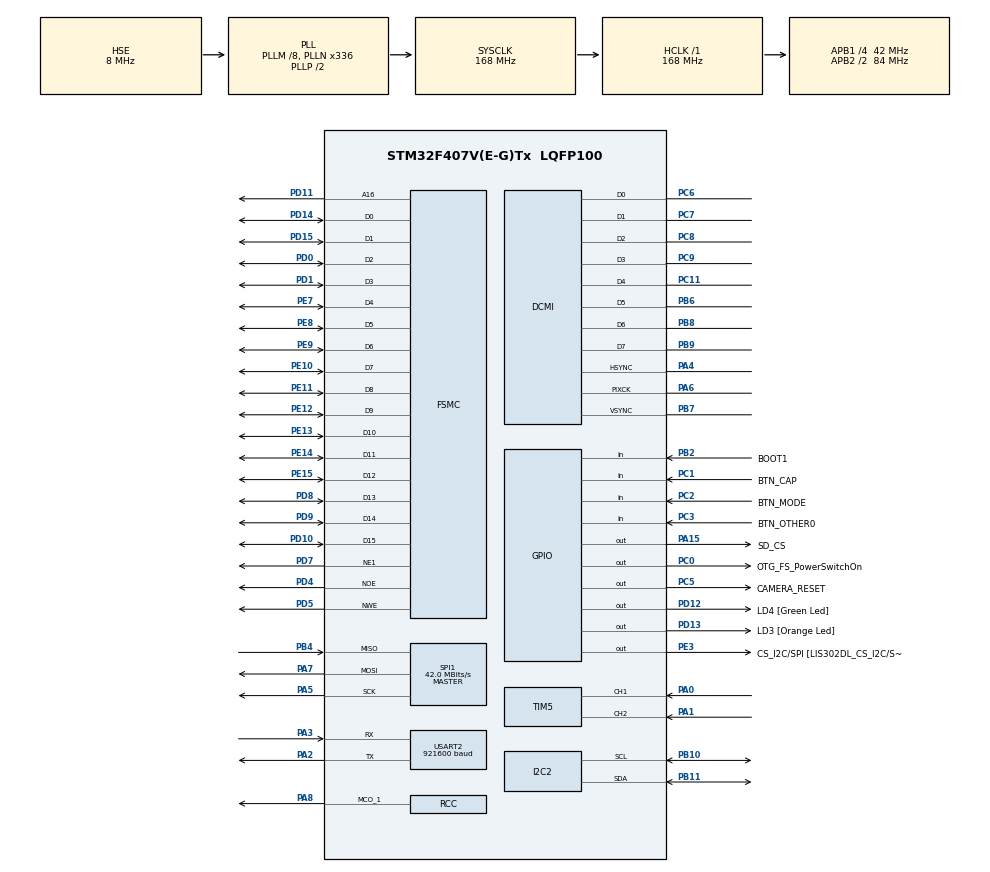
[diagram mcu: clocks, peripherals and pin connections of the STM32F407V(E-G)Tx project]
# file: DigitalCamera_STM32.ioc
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DCMI.PCKPolarity=DCMI_PCKPOLARITY_RISING
DCMI.VSPolarity=DCMI_VSPOLARITY_HIGH
Dma.DCMI.1.Direction=DMA_PERIPH_TO_MEMORY
Dma.DCMI.1.FIFOMode=DMA_FIFOMODE_DISABLE
Dma.DCMI.1.Instance=DMA2_Stream1
Dma.DCMI.1.MemDataAlignment=DMA_MDATAALIGN_WORD
Dma.DCMI.1.MemInc=DMA_MINC_DISABLE
Dma.DCMI.1.Mode=DMA_NORMAL
Dma.DCMI.1.PeriphDataAlignment=DMA_PDATAALIGN_WORD
Dma.DCMI.1.PeriphInc=DMA_PINC_DISABLE
Dma.DCMI.1.Priority=DMA_PRIORITY_LOW
Dma.Request0=USART2_RX
Dma.Request1=DCMI
Dma.USART2_RX.0.Direction=DMA_PERIPH_TO_MEMORY
Dma.USART2_RX.0.FIFOMode=DMA_FIFOMODE_DISABLE
Dma.USART2_RX.0.Instance=DMA1_Stream5
Dma.USART2_RX.0.MemDataAlignment=DMA_MDATAALIGN_BYTE
Dma.USART2_RX.0.MemInc=DMA_MINC_ENABLE
Dma.USART2_RX.0.Mode=DMA_CIRCULAR
Dma.USART2_RX.0.PeriphDataAlignment=DMA_PDATAALIGN_BYTE
Dma.USART2_RX.0.PeriphInc=DMA_PINC_DISABLE
Dma.USART2_RX.0.Priority=DMA_PRIORITY_LOW
FSMC.AddressSetupTime1=2
FSMC.BusTurnAroundDuration1=1
FSMC.DataSetupTime1=4
Mcu.Family=STM32F4
Mcu.Name=STM32F407V(E-G)Tx
Mcu.Package=LQFP100
NVIC.DCMI_IRQn=true\:0\:0\:false\:false\:true
NVIC.DMA1_Stream5_IRQn=true\:0\:0\:false\:false\:true
NVIC.DMA2_Stream1_IRQn=true\:0\:0\:false\:false\:true
NVIC.PriorityGroup=NVIC_PRIORITYGROUP_0
NVIC.USART2_IRQn=true\:0\:0\:false\:false\:true
PA0-WKUP.Signal=S_TIM5_CH1
PA1.Signal=S_TIM5_CH2
PA10.GPIO_Label=OTG_FS_ID
PA10.GPIO_Mode=GPIO_MODE_AF_PP
PA10.GPIO_PuPd=GPIO_NOPULL
PA10.GPIO_Speed=GPIO_SPEED_FREQ_LOW
PA10.Signal=USB_OTG_FS_ID
PA11.GPIO_Label=OTG_FS_DM
PA11.GPIO_Mode=GPIO_MODE_AF_PP
PA11.GPIO_PuPd=GPIO_NOPULL
PA11.GPIO_Speed=GPIO_SPEED_FREQ_LOW
PA11.Signal=USB_OTG_FS_DM
PA12.GPIO_Label=OTG_FS_DP
PA12.GPIO_Mode=GPIO_MODE_AF_PP
PA12.GPIO_PuPd=GPIO_NOPULL
PA12.GPIO_Speed=GPIO_SPEED_FREQ_LOW
PA12.Signal=USB_OTG_FS_DP
PA13.GPIO_Label=SWDIO
PA13.Signal=SYS_JTMS-SWDIO
PA14.GPIO_Label=SWCLK
PA14.Signal=SYS_JTCK-SWCLK
PA15.GPIO_Label=SD_CS
PA15.PinState=GPIO_PIN_SET
PA15.Signal=GPIO_Output
PA2.Mode=Asynchronous
PA2.Signal=USART2_TX
PA3.Mode=Asynchronous
PA3.Signal=USART2_RX
PA4.GPIO_PuPd=GPIO_PULLDOWN
PA4.GPIO_Speed=GPIO_SPEED_FREQ_VERY_HIGH
PA4.Mode=Slave_8_bits_External_Synchro
PA4.Signal=DCMI_HSYNC
PA5.Mode=Full_Duplex_Master
PA5.Signal=SPI1_SCK
PA6.GPIO_PuPd=GPIO_PULLDOWN
PA6.GPIO_Speed=GPIO_SPEED_FREQ_VERY_HIGH
PA6.Mode=Slave_8_bits_External_Synchro
PA6.Signal=DCMI_PIXCK
PA7.Mode=Full_Duplex_Master
PA7.Signal=SPI1_MOSI
PA8.GPIO_Speed=GPIO_SPEED_FREQ_VERY_HIGH
PA8.Mode=Clock-out-1
PA8.Signal=RCC_MCO_1
PA9.GPIO_Label=VBUS_FS
PA9.GPIO_Mode=GPIO_MODE_INPUT
PA9.GPIO_PuPd=GPIO_NOPULL
PA9.Signal=USB_OTG_FS_VBUS
PB10.Mode=I2C
PB10.Signal=I2C2_SCL
PB11.Mode=I2C
PB11.Signal=I2C2_SDA
PB2.GPIO_Label=BOOT1
PB2.GPIO_Mode=GPIO_MODE_INPUT
PB2.GPIO_PuPd=GPIO_NOPULL
PB2.Signal=GPIO_Input
PB3.GPIO_Label=SWO
PB3.Signal=SYS_JTDO-SWO
PB4.Mode=Full_Duplex_Master
PB4.Signal=SPI1_MISO
PB6.GPIO_PuPd=GPIO_PULLDOWN
PB6.GPIO_Speed=GPIO_SPEED_FREQ_VERY_HIGH
PB6.Mode=Slave_8_bits_External_Synchro
PB6.Signal=DCMI_D5
PB7.GPIO_PuPd=GPIO_PULLDOWN
PB7.GPIO_Speed=GPIO_SPEED_FREQ_VERY_HIGH
PB7.Mode=Slave_8_bits_External_Synchro
PB7.Signal=DCMI_VSYNC
PB8.GPIO_PuPd=GPIO_PULLDOWN
PB8.GPIO_Speed=GPIO_SPEED_FREQ_VERY_HIGH
PB8.Mode=Slave_8_bits_External_Synchro
PB8.Signal=DCMI_D6
PB9.GPIO_PuPd=GPIO_PULLDOWN
PB9.GPIO_Speed=GPIO_SPEED_FREQ_VERY_HIGH
PB9.Mode=Slave_8_bits_External_Synchro
PB9.Signal=DCMI_D7
PC0.GPIO_Label=OTG_FS_PowerSwitchOn
PC0.GPIO_PuPd=GPIO_NOPULL
PC0.GPIO_Speed=GPIO_SPEED_FREQ_LOW
PC0.PinState=GPIO_PIN_SET
PC0.Signal=GPIO_Output
PC1.GPIO_Label=BTN_CAP
PC1.GPIO_PuPd=GPIO_PULLUP
PC1.Signal=GPIO_Input
PC11.GPIO_PuPd=GPIO_PULLDOWN
PC11.GPIO_Speed=GPIO_SPEED_FREQ_VERY_HIGH
PC11.Mode=Slave_8_bits_External_Synchro
PC11.Signal=DCMI_D4
PC14-OSC32_IN.GPIO_Label=PC14-OSC32_IN
PC14-OSC32_IN.Signal=RCC_OSC32_IN
PC15-OSC32_OUT.GPIO_Label=PC15-OSC32_OUT
PC15-OSC32_OUT.Signal=RCC_OSC32_OUT
PC2.GPIO_Label=BTN_MODE
PC2.GPIO_PuPd=GPIO_PULLUP
PC2.Signal=GPIO_Input
PC3.GPIO_Label=BTN_OTHER0
PC3.GPIO_PuPd=GPIO_PULLUP
PC3.Signal=GPIO_Input
PC5.GPIO_Label=CAMERA_RESET
PC5.Signal=GPIO_Output
PC6.GPIO_PuPd=GPIO_PULLDOWN
PC6.GPIO_Speed=GPIO_SPEED_FREQ_VERY_HIGH
PC6.Mode=Slave_8_bits_External_Synchro
PC6.Signal=DCMI_D0
PC7.GPIO_PuPd=GPIO_PULLDOWN
PC7.GPIO_Speed=GPIO_SPEED_FREQ_VERY_HIGH
PC7.Mode=Slave_8_bits_External_Synchro
PC7.Signal=DCMI_D1
PC8.GPIO_PuPd=GPIO_PULLDOWN
PC8.GPIO_Speed=GPIO_SPEED_FREQ_VERY_HIGH
PC8.Mode=Slave_8_bits_External_Synchro
PC8.Signal=DCMI_D2
PC9.GPIO_PuPd=GPIO_PULLDOWN
PC9.GPIO_Speed=GPIO_SPEED_FREQ_VERY_HIGH
PC9.Mode=Slave_8_bits_External_Synchro
PC9.Signal=DCMI_D3
PD0.Mode=16b-d1
PD0.Signal=FSMC_D2
PD1.Mode=16b-d1
PD1.Signal=FSMC_D3
PD10.Mode=16b-d1
PD10.Signal=FSMC_D15
PD11.Mode=A16_1
PD11.Signal=FSMC_A16
PD12.GPIO_Label=LD4 [Green Led]
PD12.GPIO_PuPd=GPIO_NOPULL
PD12.GPIO_Speed=GPIO_SPEED_FREQ_LOW
PD12.Signal=GPIO_Output
PD13.GPIO_Label=LD3 [Orange Led]
PD13.GPIO_PuPd=GPIO_NOPULL
PD13.GPIO_Speed=GPIO_SPEED_FREQ_LOW
PD13.Signal=GPIO_Output
PD14.Mode=16b-d1
PD14.Signal=FSMC_D0
PD15.Mode=16b-d1
PD15.Signal=FSMC_D1
PD4.Mode=Lcd1
PD4.Signal=FSMC_NOE
PD5.Mode=Lcd1
PD5.Signal=FSMC_NWE
PD7.Mode=NorPsramChipSelect1_1
PD7.Signal=FSMC_NE1
PD8.Mode=16b-d1
PD8.Signal=FSMC_D13
PD9.Mode=16b-d1
PD9.Signal=FSMC_D14
PE10.Mode=16b-d1
PE10.Signal=FSMC_D7
PE11.Mode=16b-d1
PE11.Signal=FSMC_D8
PE12.Mode=16b-d1
PE12.Signal=FSMC_D9
PE13.Mode=16b-d1
PE13.Signal=FSMC_D10
PE14.Mode=16b-d1
PE14.Signal=FSMC_D11
PE15.Mode=16b-d1
PE15.Signal=FSMC_D12
PE3.GPIO_Label=CS_I2C/SPI [LIS302DL_CS_I2C/SPI]
PE3.GPIO_PuPd=GPIO_NOPULL
PE3.GPIO_Speed=GPIO_SPEED_FREQ_LOW
PE3.PinState=GPIO_PIN_SET
PE3.Signal=GPIO_Output
PE7.Mode=16b-d1
PE7.Signal=FSMC_D4
PE8.Mode=16b-d1
PE8.Signal=FSMC_D5
PE9.Mode=16b-d1
PE9.Signal=FSMC_D6
PH0-OSC_IN.GPIO_Label=PH0-OSC_IN
PH0-OSC_IN.Mode=HSE-External-Oscillator
PH0-OSC_IN.Signal=RCC_OSC_IN
PH1-OSC_OUT.GPIO_Label=PH1-OSC_OUT
PH1-OSC_OUT.Mode=HSE-External-Oscillator
PH1-OSC_OUT.Signal=RCC_OSC_OUT
ProjectManager.HeapSize=0x200
ProjectManager.StackSize=0x400
ProjectManager.TargetToolchain=SW4STM32
RCC.48MHZClocksFreq_Value=48000000
RCC.AHBFreq_Value=168000000
RCC.APB1CLKDivider=RCC_HCLK_DIV4
RCC.APB1Freq_Value=42000000
RCC.APB1TimFreq_Value=84000000
RCC.APB2CLKDivider=RCC_HCLK_DIV2
RCC.APB2Freq_Value=84000000
RCC.APB2TimFreq_Value=168000000
RCC.CortexFreq_Value=168000000
RCC.HCLKFreq_Value=168000000
RCC.HSE_VALUE=8000000
RCC.HSI_VALUE=16000000
RCC.LSE_VALUE=32768
RCC.PLLM=8
RCC.PLLN=336
RCC.PLLQ=7
RCC.PLLSourceVirtual=RCC_PLLSOURCE_HSE
RCC.RCC_MCO1Source=RCC_MCO1SOURCE_PLLCLK
RCC.RCC_MCODiv1=RCC_MCODIV_4
RCC.SYSCLKFreq_VALUE=168000000
RCC.SYSCLKSource=RCC_SYSCLKSOURCE_PLLCLK
RCC.VCOOutputFreq_Value=336000000
SH.S_TIM5_CH1.0=TIM5_CH1,Encoder_Interface
SH.S_TIM5_CH2.0=TIM5_CH2,Encoder_Interface
SPI1.CalculateBaudRate=42.0 MBits/s
SPI1.Direction=SPI_DIRECTION_2LINES
SPI1.Mode=SPI_MODE_MASTER
SPI1.VirtualType=VM_MASTER
USART2.BaudRate=921600
USART2.VirtualMode=VM_ASYNC
board=STM32F4DISCOVERY

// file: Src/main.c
/**
  ******************************************************************************
  * File Name          : main.c
  * Description        : Main program body
  ******************************************************************************
  ** This notice applies to any and all portions of this file
  * that are not between comment pairs USER CODE BEGIN and
  * USER CODE END. Other portions of this file, whether
  * inserted by the user or by software development tools
  * are owned by their respective copyright owners.
  *
  * COPYRIGHT(c) 2017 STMicroelectronics
  *
  * Redistribution and use in source and binary forms, with or without modification,
  * are permitted provided that the following conditions are met:
  *   1. Redistributions of source code must retain the above copyright notice,
  *      this list of conditions and the following disclaimer.
  *   2. Redistributions in binary form must reproduce the above copyright notice,
  *      this list of conditions and the following disclaimer in the documentation
  *      and/or other materials provided with the distribution.
  *   3. Neither the name of STMicroelectronics nor the names of its contributors
  *      may be used to endorse or promote products derived from this software
  *      without specific prior written permission.
  *
  * THIS SOFTWARE IS PROVIDED BY THE COPYRIGHT HOLDERS AND CONTRIBUTORS "AS IS"
  * AND ANY EXPRESS OR IMPLIED WARRANTIES, INCLUDING, BUT NOT LIMITED TO, THE
  * IMPLIED WARRANTIES OF MERCHANTABILITY AND FITNESS FOR A PARTICULAR PURPOSE ARE
  * DISCLAIMED. IN NO EVENT SHALL THE COPYRIGHT HOLDER OR CONTRIBUTORS BE LIABLE
  * FOR ANY DIRECT, INDIRECT, INCIDENTAL, SPECIAL, EXEMPLARY, OR CONSEQUENTIAL
  * DAMAGES (INCLUDING, BUT NOT LIMITED TO, PROCUREMENT OF SUBSTITUTE GOODS OR
  * SERVICES; LOSS OF USE, DATA, OR PROFITS; OR BUSINESS INTERRUPTION) HOWEVER
  * CAUSED AND ON ANY THEORY OF LIABILITY, WHETHER IN CONTRACT, STRICT LIABILITY,
  * OR TORT (INCLUDING NEGLIGENCE OR OTHERWISE) ARISING IN ANY WAY OUT OF THE USE
  * OF THIS SOFTWARE, EVEN IF ADVISED OF THE POSSIBILITY OF SUCH DAMAGE.
  *
  ******************************************************************************
  */
#include "main.h"
#include "stm32f4xx_hal.h"

/* USER CODE BEGIN Includes */
#include "common.h"
#include "uartTerminal/uartTerminal.h"
#include "lcdIli9341/lcdIli9341.h"
#include "ov7670/ov7670.h"
/* USER CODE END Includes */

DCMI_HandleTypeDef hdcmi;
DMA_HandleTypeDef hdma_dcmi;

I2C_HandleTypeDef hi2c2;

SPI_HandleTypeDef hspi1;

TIM_HandleTypeDef htim5;

UART_HandleTypeDef huart2;
DMA_HandleTypeDef hdma_usart2_rx;

SRAM_HandleTypeDef hsram1;

/* USER CODE BEGIN PV */
/* Private variables ---------------------------------------------------------*/

/* USER CODE END PV */

void SystemClock_Config(void);
static void MX_GPIO_Init(void);
static void MX_DMA_Init(void);
static void MX_DCMI_Init(void);
static void MX_FSMC_Init(void);
static void MX_I2C2_Init(void);
static void MX_SPI1_Init(void);
static void MX_TIM5_Init(void);
static void MX_USART2_UART_Init(void);

/* USER CODE BEGIN PFP */
/* Private function prototypes -----------------------------------------------*/
extern void retarget_init();
/* USER CODE END PFP */

int main(void)
{

  /* MCU Configuration----------------------------------------------------------*/

  /* Reset of all peripherals, Initializes the Flash interface and the Systick. */
  HAL_Init();

  /* Configure the system clock */
  SystemClock_Config();

  /* Initialize all configured peripherals */
  MX_GPIO_Init();
  MX_DMA_Init();
  MX_DCMI_Init();
  MX_FSMC_Init();
  MX_I2C2_Init();
  MX_SPI1_Init();
  MX_TIM5_Init();
  MX_USART2_UART_Init();

  /* USER CODE BEGIN 2 */
  /* init system */
  retarget_init();
  printf("Hello World\n");

  /* init lcd */
  lcdIli9341_init();
  lcdIli9341_drawRect(100, 100, 50, 50, LCD_ILI9342_COLOR_RED);

  lcdIli9341_setArea(0, 0, LCD_ILI9342_WIDTH - 1, LCD_ILI9342_HEIGHT - 1);
  uint16_t* p_lcdData;
  p_lcdData = lcdIli9341_getDrawAddress();

  for(uint32_t y = 0 * LCD_ILI9342_HEIGHT/3; y < 1 * LCD_ILI9342_HEIGHT/3; y++){
    for(uint32_t x = 0; x < LCD_ILI9342_WIDTH; x++){
      *p_lcdData = LCD_ILI9342_COLOR_RED;
    }
  }
  for(uint32_t y = 1 * LCD_ILI9342_HEIGHT/3; y < 2 * LCD_ILI9342_HEIGHT/3; y++){
    for(uint32_t x = 0; x < LCD_ILI9342_WIDTH; x++){
      *p_lcdData = LCD_ILI9342_COLOR_GREEN;
    }
  }
  for(uint32_t y = 2 * LCD_ILI9342_HEIGHT/3; y < 3 * LCD_ILI9342_HEIGHT/3; y++){
    for(uint32_t x = 0; x < LCD_ILI9342_WIDTH; x++){
      *p_lcdData = LCD_ILI9342_COLOR_BLUE;
    }
  }

  /* init camera */
  ov7670_init(&hdcmi, &hdma_dcmi, &hi2c2);
  ov7670_config(OV7670_MODE_QVGA_RGB565);
  ov7670_startCap(OV7670_CAP_CONTINUOUS, p_lcdData);

  /* USER CODE END 2 */

  /* Infinite loop */
  /* USER CODE BEGIN WHILE */
  while (1)
  {
	    char ch = getchar();
	    printf("%c", ch);
  /* USER CODE END WHILE */

  }

}

/** System Clock Configuration
*/
void SystemClock_Config(void)
{

  RCC_OscInitTypeDef RCC_OscInitStruct;
  RCC_ClkInitTypeDef RCC_ClkInitStruct;

    /**Configure the main internal regulator output voltage
    */
  __HAL_RCC_PWR_CLK_ENABLE();

  __HAL_PWR_VOLTAGESCALING_CONFIG(PWR_REGULATOR_VOLTAGE_SCALE1);

    /**Initializes the CPU, AHB and APB busses clocks
    */
  RCC_OscInitStruct.OscillatorType = RCC_OSCILLATORTYPE_HSE;
  RCC_OscInitStruct.HSEState = RCC_HSE_ON;
  RCC_OscInitStruct.PLL.PLLState = RCC_PLL_ON;
  RCC_OscInitStruct.PLL.PLLSource = RCC_PLLSOURCE_HSE;
  RCC_OscInitStruct.PLL.PLLM = 8;
  RCC_OscInitStruct.PLL.PLLN = 336;
  RCC_OscInitStruct.PLL.PLLP = RCC_PLLP_DIV2;
  RCC_OscInitStruct.PLL.PLLQ = 7;
  if (HAL_RCC_OscConfig(&RCC_OscInitStruct) != HAL_OK)
  {
    _Error_Handler(__FILE__, __LINE__);
  }

    /**Initializes the CPU, AHB and APB busses clocks
    */
  RCC_ClkInitStruct.ClockType = RCC_CLOCKTYPE_HCLK|RCC_CLOCKTYPE_SYSCLK
                              |RCC_CLOCKTYPE_PCLK1|RCC_CLOCKTYPE_PCLK2;
  RCC_ClkInitStruct.SYSCLKSource = RCC_SYSCLKSOURCE_PLLCLK;
  RCC_ClkInitStruct.AHBCLKDivider = RCC_SYSCLK_DIV1;
  RCC_ClkInitStruct.APB1CLKDivider = RCC_HCLK_DIV4;
  RCC_ClkInitStruct.APB2CLKDivider = RCC_HCLK_DIV2;

  if (HAL_RCC_ClockConfig(&RCC_ClkInitStruct, FLASH_LATENCY_5) != HAL_OK)
  {
    _Error_Handler(__FILE__, __LINE__);
  }

  HAL_RCC_MCOConfig(RCC_MCO1, RCC_MCO1SOURCE_PLLCLK, RCC_MCODIV_4);

    /**Configure the Systick interrupt time
    */
  HAL_SYSTICK_Config(HAL_RCC_GetHCLKFreq()/1000);

    /**Configure the Systick
    */
  HAL_SYSTICK_CLKSourceConfig(SYSTICK_CLKSOURCE_HCLK);

  /* SysTick_IRQn interrupt configuration */
  HAL_NVIC_SetPriority(SysTick_IRQn, 0, 0);
}

/* DCMI init function */
static void MX_DCMI_Init(void)
{

  hdcmi.Instance = DCMI;
  hdcmi.Init.SynchroMode = DCMI_SYNCHRO_HARDWARE;
  hdcmi.Init.PCKPolarity = DCMI_PCKPOLARITY_RISING;
  hdcmi.Init.VSPolarity = DCMI_VSPOLARITY_HIGH;
  hdcmi.Init.HSPolarity = DCMI_HSPOLARITY_LOW;
  hdcmi.Init.CaptureRate = DCMI_CR_ALL_FRAME;
  hdcmi.Init.ExtendedDataMode = DCMI_EXTEND_DATA_8B;
  hdcmi.Init.JPEGMode = DCMI_JPEG_DISABLE;
  if (HAL_DCMI_Init(&hdcmi) != HAL_OK)
  {
    _Error_Handler(__FILE__, __LINE__);
  }

}

/* I2C2 init function */
static void MX_I2C2_Init(void)
{

  hi2c2.Instance = I2C2;
  hi2c2.Init.ClockSpeed = 100000;
  hi2c2.Init.DutyCycle = I2C_DUTYCYCLE_2;
  hi2c2.Init.OwnAddress1 = 0;
  hi2c2.Init.AddressingMode = I2C_ADDRESSINGMODE_7BIT;
  hi2c2.Init.DualAddressMode = I2C_DUALADDRESS_DISABLE;
  hi2c2.Init.OwnAddress2 = 0;
  hi2c2.Init.GeneralCallMode = I2C_GENERALCALL_DISABLE;
  hi2c2.Init.NoStretchMode = I2C_NOSTRETCH_DISABLE;
  if (HAL_I2C_Init(&hi2c2) != HAL_OK)
  {
    _Error_Handler(__FILE__, __LINE__);
  }

}

/* SPI1 init function */
static void MX_SPI1_Init(void)
{

  hspi1.Instance = SPI1;
  hspi1.Init.Mode = SPI_MODE_MASTER;
  hspi1.Init.Direction = SPI_DIRECTION_2LINES;
  hspi1.Init.DataSize = SPI_DATASIZE_8BIT;
  hspi1.Init.CLKPolarity = SPI_POLARITY_LOW;
  hspi1.Init.CLKPhase = SPI_PHASE_1EDGE;
  hspi1.Init.NSS = SPI_NSS_SOFT;
  hspi1.Init.BaudRatePrescaler = SPI_BAUDRATEPRESCALER_2;
  hspi1.Init.FirstBit = SPI_FIRSTBIT_MSB;
  hspi1.Init.TIMode = SPI_TIMODE_DISABLE;
  hspi1.Init.CRCCalculation = SPI_CRCCALCULATION_DISABLE;
  hspi1.Init.CRCPolynomial = 10;
  if (HAL_SPI_Init(&hspi1) != HAL_OK)
  {
    _Error_Handler(__FILE__, __LINE__);
  }

}

/* TIM5 init function */
static void MX_TIM5_Init(void)
{

  TIM_Encoder_InitTypeDef sConfig;
  TIM_MasterConfigTypeDef sMasterConfig;

  htim5.Instance = TIM5;
  htim5.Init.Prescaler = 0;
  htim5.Init.CounterMode = TIM_COUNTERMODE_UP;
  htim5.Init.Period = 0;
  htim5.Init.ClockDivision = TIM_CLOCKDIVISION_DIV1;
  sConfig.EncoderMode = TIM_ENCODERMODE_TI1;
  sConfig.IC1Polarity = TIM_ICPOLARITY_RISING;
  sConfig.IC1Selection = TIM_ICSELECTION_DIRECTTI;
  sConfig.IC1Prescaler = TIM_ICPSC_DIV1;
  sConfig.IC1Filter = 0;
  sConfig.IC2Polarity = TIM_ICPOLARITY_RISING;
  sConfig.IC2Selection = TIM_ICSELECTION_DIRECTTI;
  sConfig.IC2Prescaler = TIM_ICPSC_DIV1;
  sConfig.IC2Filter = 0;
  if (HAL_TIM_Encoder_Init(&htim5, &sConfig) != HAL_OK)
  {
    _Error_Handler(__FILE__, __LINE__);
  }

  sMasterConfig.MasterOutputTrigger = TIM_TRGO_RESET;
  sMasterConfig.MasterSlaveMode = TIM_MASTERSLAVEMODE_DISABLE;
  if (HAL_TIMEx_MasterConfigSynchronization(&htim5, &sMasterConfig) != HAL_OK)
  {
    _Error_Handler(__FILE__, __LINE__);
  }

}

/* USART2 init function */
static void MX_USART2_UART_Init(void)
{

  huart2.Instance = USART2;
  huart2.Init.BaudRate = 921600;
  huart2.Init.WordLength = UART_WORDLENGTH_8B;
  huart2.Init.StopBits = UART_STOPBITS_1;
  huart2.Init.Parity = UART_PARITY_NONE;
  huart2.Init.Mode = UART_MODE_TX_RX;
  huart2.Init.HwFlowCtl = UART_HWCONTROL_NONE;
  huart2.Init.OverSampling = UART_OVERSAMPLING_16;
  if (HAL_UART_Init(&huart2) != HAL_OK)
  {
    _Error_Handler(__FILE__, __LINE__);
  }

}

static void MX_DMA_Init(void)
{
  /* DMA controller clock enable */
  __HAL_RCC_DMA1_CLK_ENABLE();
  __HAL_RCC_DMA2_CLK_ENABLE();

  /* DMA interrupt init */
  /* DMA1_Stream5_IRQn interrupt configuration */
  HAL_NVIC_SetPriority(DMA1_Stream5_IRQn, 0, 0);
  HAL_NVIC_EnableIRQ(DMA1_Stream5_IRQn);
  /* DMA2_Stream1_IRQn interrupt configuration */
  HAL_NVIC_SetPriority(DMA2_Stream1_IRQn, 0, 0);
  HAL_NVIC_EnableIRQ(DMA2_Stream1_IRQn);

}

/** Configure pins as
        * Analog
        * Input
        * Output
        * EVENT_OUT
        * EXTI
     PA8   ------> RCC_MCO_1
     PA9   ------> USB_OTG_FS_VBUS
     PA10   ------> USB_OTG_FS_ID
     PA11   ------> USB_OTG_FS_DM
     PA12   ------> USB_OTG_FS_DP
*/
static void MX_GPIO_Init(void)
{

  GPIO_InitTypeDef GPIO_InitStruct;

  /* GPIO Ports Clock Enable */
  __HAL_RCC_GPIOE_CLK_ENABLE();
  __HAL_RCC_GPIOC_CLK_ENABLE();
  __HAL_RCC_GPIOH_CLK_ENABLE();
  __HAL_RCC_GPIOA_CLK_ENABLE();
  __HAL_RCC_GPIOB_CLK_ENABLE();
  __HAL_RCC_GPIOD_CLK_ENABLE();

  /*Configure GPIO pin Output Level */
  HAL_GPIO_WritePin(CS_I2C_SPI_GPIO_Port, CS_I2C_SPI_Pin, GPIO_PIN_SET);

  /*Configure GPIO pin Output Level */
  HAL_GPIO_WritePin(OTG_FS_PowerSwitchOn_GPIO_Port, OTG_FS_PowerSwitchOn_Pin, GPIO_PIN_SET);

  /*Configure GPIO pin Output Level */
  HAL_GPIO_WritePin(CAMERA_RESET_GPIO_Port, CAMERA_RESET_Pin, GPIO_PIN_RESET);

  /*Configure GPIO pin Output Level */
  HAL_GPIO_WritePin(GPIOD, LD4_Pin|LD3_Pin, GPIO_PIN_RESET);

  /*Configure GPIO pin Output Level */
  HAL_GPIO_WritePin(SD_CS_GPIO_Port, SD_CS_Pin, GPIO_PIN_SET);

  /*Configure GPIO pin : CS_I2C_SPI_Pin */
  GPIO_InitStruct.Pin = CS_I2C_SPI_Pin;
  GPIO_InitStruct.Mode = GPIO_MODE_OUTPUT_PP;
  GPIO_InitStruct.Pull = GPIO_NOPULL;
  GPIO_InitStruct.Speed = GPIO_SPEED_FREQ_LOW;
  HAL_GPIO_Init(CS_I2C_SPI_GPIO_Port, &GPIO_InitStruct);

  /*Configure GPIO pins : OTG_FS_PowerSwitchOn_Pin CAMERA_RESET_Pin */
  GPIO_InitStruct.Pin = OTG_FS_PowerSwitchOn_Pin|CAMERA_RESET_Pin;
  GPIO_InitStruct.Mode = GPIO_MODE_OUTPUT_PP;
  GPIO_InitStruct.Pull = GPIO_NOPULL;
  GPIO_InitStruct.Speed = GPIO_SPEED_FREQ_LOW;
  HAL_GPIO_Init(GPIOC, &GPIO_InitStruct);

  /*Configure GPIO pins : BTN_CAP_Pin BTN_MODE_Pin BTN_OTHER0_Pin */
  GPIO_InitStruct.Pin = BTN_CAP_Pin|BTN_MODE_Pin|BTN_OTHER0_Pin;
  GPIO_InitStruct.Mode = GPIO_MODE_INPUT;
  GPIO_InitStruct.Pull = GPIO_PULLUP;
  HAL_GPIO_Init(GPIOC, &GPIO_InitStruct);

  /*Configure GPIO pin : BOOT1_Pin */
  GPIO_InitStruct.Pin = BOOT1_Pin;
  GPIO_InitStruct.Mode = GPIO_MODE_INPUT;
  GPIO_InitStruct.Pull = GPIO_NOPULL;
  HAL_GPIO_Init(BOOT1_GPIO_Port, &GPIO_InitStruct);

  /*Configure GPIO pins : LD4_Pin LD3_Pin */
  GPIO_InitStruct.Pin = LD4_Pin|LD3_Pin;
  GPIO_InitStruct.Mode = GPIO_MODE_OUTPUT_PP;
  GPIO_InitStruct.Pull = GPIO_NOPULL;
  GPIO_InitStruct.Speed = GPIO_SPEED_FREQ_LOW;
  HAL_GPIO_Init(GPIOD, &GPIO_InitStruct);

  /*Configure GPIO pin : PA8 */
  GPIO_InitStruct.Pin = GPIO_PIN_8;
  GPIO_InitStruct.Mode = GPIO_MODE_AF_PP;
  GPIO_InitStruct.Pull = GPIO_NOPULL;
  GPIO_InitStruct.Speed = GPIO_SPEED_FREQ_VERY_HIGH;
  GPIO_InitStruct.Alternate = GPIO_AF0_MCO;
  HAL_GPIO_Init(GPIOA, &GPIO_InitStruct);

  /*Configure GPIO pin : VBUS_FS_Pin */
  GPIO_InitStruct.Pin = VBUS_FS_Pin;
  GPIO_InitStruct.Mode = GPIO_MODE_INPUT;
  GPIO_InitStruct.Pull = GPIO_NOPULL;
  HAL_GPIO_Init(VBUS_FS_GPIO_Port, &GPIO_InitStruct);

  /*Configure GPIO pins : OTG_FS_ID_Pin OTG_FS_DM_Pin OTG_FS_DP_Pin */
  GPIO_InitStruct.Pin = OTG_FS_ID_Pin|OTG_FS_DM_Pin|OTG_FS_DP_Pin;
  GPIO_InitStruct.Mode = GPIO_MODE_AF_PP;
  GPIO_InitStruct.Pull = GPIO_NOPULL;
  GPIO_InitStruct.Speed = GPIO_SPEED_FREQ_LOW;
  GPIO_InitStruct.Alternate = GPIO_AF10_OTG_FS;
  HAL_GPIO_Init(GPIOA, &GPIO_InitStruct);

  /*Configure GPIO pin : SD_CS_Pin */
  GPIO_InitStruct.Pin = SD_CS_Pin;
  GPIO_InitStruct.Mode = GPIO_MODE_OUTPUT_PP;
  GPIO_InitStruct.Pull = GPIO_NOPULL;
  GPIO_InitStruct.Speed = GPIO_SPEED_FREQ_LOW;
  HAL_GPIO_Init(SD_CS_GPIO_Port, &GPIO_InitStruct);

}

/* FSMC initialization function */
static void MX_FSMC_Init(void)
{
  FSMC_NORSRAM_TimingTypeDef Timing;

  /** Perform the SRAM1 memory initialization sequence
  */
  hsram1.Instance = FSMC_NORSRAM_DEVICE;
  hsram1.Extended = FSMC_NORSRAM_EXTENDED_DEVICE;
  /* hsram1.Init */
  hsram1.Init.NSBank = FSMC_NORSRAM_BANK1;
  hsram1.Init.DataAddressMux = FSMC_DATA_ADDRESS_MUX_DISABLE;
  hsram1.Init.MemoryType = FSMC_MEMORY_TYPE_SRAM;
  hsram1.Init.MemoryDataWidth = FSMC_NORSRAM_MEM_BUS_WIDTH_16;
  hsram1.Init.BurstAccessMode = FSMC_BURST_ACCESS_MODE_DISABLE;
  hsram1.Init.WaitSignalPolarity = FSMC_WAIT_SIGNAL_POLARITY_LOW;
  hsram1.Init.WrapMode = FSMC_WRAP_MODE_DISABLE;
  hsram1.Init.WaitSignalActive = FSMC_WAIT_TIMING_BEFORE_WS;
  hsram1.Init.WriteOperation = FSMC_WRITE_OPERATION_ENABLE;
  hsram1.Init.WaitSignal = FSMC_WAIT_SIGNAL_DISABLE;
  hsram1.Init.ExtendedMode = FSMC_EXTENDED_MODE_DISABLE;
  hsram1.Init.AsynchronousWait = FSMC_ASYNCHRONOUS_WAIT_DISABLE;
  hsram1.Init.WriteBurst = FSMC_WRITE_BURST_DISABLE;
  hsram1.Init.PageSize = FSMC_PAGE_SIZE_NONE;
  /* Timing */
  Timing.AddressSetupTime = 2;
  Timing.AddressHoldTime = 15;
  Timing.DataSetupTime = 4;
  Timing.BusTurnAroundDuration = 1;
  Timing.CLKDivision = 16;
  Timing.DataLatency = 17;
  Timing.AccessMode = FSMC_ACCESS_MODE_A;
  /* ExtTiming */

  if (HAL_SRAM_Init(&hsram1, &Timing, NULL) != HAL_OK)
  {
    _Error_Handler(__FILE__, __LINE__);
  }

}

void _Error_Handler(char * file, int line)
{
  while(1)
  {
  }
}

/************************ (C) COPYRIGHT STMicroelectronics *****END OF FILE****/
